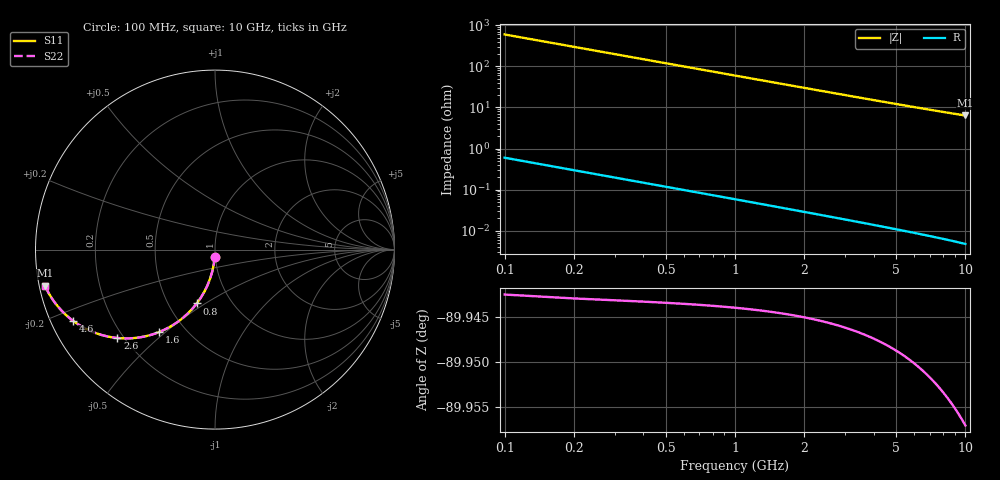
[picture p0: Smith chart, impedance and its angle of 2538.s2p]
# Hz S RI R 50.00
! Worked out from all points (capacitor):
!   100 points, 100 MHz to 10 GHz, reference 50 ohm
!   read as one part in shunt: C = 2.67 pF near 100 MHz
!   lowest |Z| = 6.36 ohm at 10 GHz (marker M1)
!   S11 on the Smith chart (normalised r, x): 100 MHz: 0.99, -0.08; 800 MHz: 0.69, -0.46; 1.6 GHz: 0.36, -0.48; 2.6 GHz: 0.18, -0.38; 4.6 GHz: 0.07, -0.24; 10 GHz: 0.02, -0.10
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1e8  -0.00175 -0.0417  0.9981 -0.0421  0.9981 -0.0421  -0.00175 -0.0417
2e8  -0.00702 -0.083  0.9929 -0.0837  0.9929 -0.0837  -0.00702 -0.083
3e8  -0.0157 -0.1233  0.9842 -0.1245  0.9842 -0.1245  -0.0157 -0.1233
4e8  -0.0275 -0.1625  0.9724 -0.164  0.9724 -0.164  -0.0275 -0.1625
5e8  -0.0423 -0.2  0.9576 -0.2019  0.9576 -0.2019  -0.0423 -0.2
6e8  -0.0598 -0.2355  0.9401 -0.2379  0.9401 -0.2379  -0.0598 -0.2355
8e8  -0.1015 -0.3  0.8984 -0.3031  0.8984 -0.3031  -0.1015 -0.3
1e9  -0.15 -0.3546  0.8499 -0.3586  0.8499 -0.3586  -0.15 -0.3546
1.2e9  -0.2025 -0.3991  0.7974 -0.4038  0.7974 -0.4038  -0.2025 -0.3991
1.6e9  -0.3109 -0.4592  0.6889 -0.4655  0.6889 -0.4655  -0.3109 -0.4592
1.8e9  -0.3635 -0.477  0.6364 -0.4841  0.6364 -0.4841  -0.3635 -0.477
2.2e9  -0.4603 -0.4936  0.5396 -0.5023  0.5396 -0.5023  -0.4603 -0.4936
2.6e9  -0.5436 -0.4924  0.4562 -0.5027  0.4562 -0.5027  -0.5436 -0.4924
3e9  -0.6133 -0.4805  0.3865 -0.4924  0.3865 -0.4924  -0.6133 -0.4805
3.4e9  -0.6708 -0.4626  0.329 -0.4761  0.329 -0.4761  -0.6708 -0.4626
4e9  -0.7384 -0.4309  0.2613 -0.4469  0.2613 -0.4469  -0.7384 -0.4309
4.6e9  -0.7889 -0.3983  0.2108 -0.4166  0.2108 -0.4166  -0.7889 -0.3983
5.1e9  -0.8214 -0.3721  0.1782 -0.3926  0.1782 -0.3926  -0.8214 -0.3721
5.8e9  -0.8564 -0.3383  0.1432 -0.3617  0.1432 -0.3617  -0.8564 -0.3383
6.7e9  -0.8887 -0.3001  0.1108 -0.3273  0.1108 -0.3273  -0.8887 -0.3001
8.4e9  -0.9267 -0.2422  0.0726 -0.2767  0.0726 -0.2767  -0.9267 -0.2422
1e10  -0.9476 -0.2004  0.0514 -0.2421  0.0514 -0.2421  -0.9476 -0.2004
